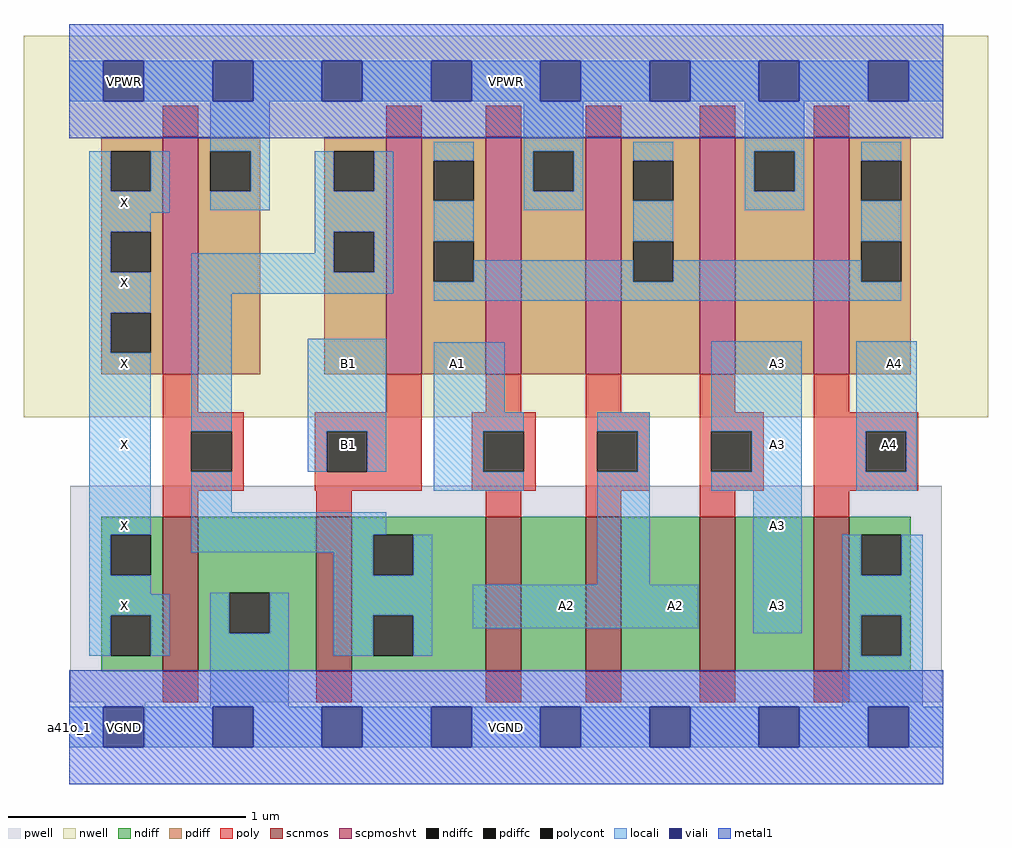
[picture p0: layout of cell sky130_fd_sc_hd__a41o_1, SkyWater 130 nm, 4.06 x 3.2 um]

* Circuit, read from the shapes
.subckt sky130_fd_sc_hd__a41o_1 A1 A2 A3 A4 B1 VGND VNB VPB VPWR X
XM1 VGND n1 X VNB sky130_fd_pr__nfet_01v8 w=0.65 l=0.15
XM2 n1 B1 VGND VNB sky130_fd_pr__nfet_01v8 w=0.65 l=0.15
XM3 n2 A1 n1 VNB sky130_fd_pr__nfet_01v8 w=0.65 l=0.15
XM4 n3 A2 n2 VNB sky130_fd_pr__nfet_01v8 w=0.65 l=0.15
XM5 n4 A3 n3 VNB sky130_fd_pr__nfet_01v8 w=0.65 l=0.15
XM6 VGND A4 n4 VNB sky130_fd_pr__nfet_01v8 w=0.65 l=0.15
XM7 VPWR n1 X VPB sky130_fd_pr__pfet_01v8_hvt w=1 l=0.15
XM8 n5 B1 n1 VPB sky130_fd_pr__pfet_01v8_hvt w=1 l=0.15
XM9 VPWR A1 n5 VPB sky130_fd_pr__pfet_01v8_hvt w=1 l=0.15
XM10 n5 A2 VPWR VPB sky130_fd_pr__pfet_01v8_hvt w=1 l=0.15
XM11 VPWR A3 n5 VPB sky130_fd_pr__pfet_01v8_hvt w=1 l=0.15
XM12 n5 A4 VPWR VPB sky130_fd_pr__pfet_01v8_hvt w=1 l=0.15
.ends

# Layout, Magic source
magic
tech sky130B
magscale 1 2
<< nwell >>
rect -38 261 774 582
<< pwell >>
rect 1 21 735 203
rect 30 -17 64 21
<< scnmos >>
rect 79 47 109 177
rect 208 47 238 177
rect 351 47 381 177
rect 435 47 465 177
rect 531 47 561 177
rect 627 47 657 177
<< scpmoshvt >>
rect 79 297 109 497
rect 267 297 297 497
rect 351 297 381 497
rect 435 297 465 497
rect 531 297 561 497
rect 627 297 657 497
<< ndiff >>
rect 27 162 79 177
rect 27 128 35 162
rect 69 128 79 162
rect 27 94 79 128
rect 27 60 35 94
rect 69 60 79 94
rect 27 47 79 60
rect 109 113 208 177
rect 109 79 135 113
rect 169 79 208 113
rect 109 47 208 79
rect 238 162 351 177
rect 238 128 256 162
rect 290 128 351 162
rect 238 94 351 128
rect 238 60 256 94
rect 290 60 351 94
rect 238 47 351 60
rect 381 47 435 177
rect 465 47 531 177
rect 561 47 627 177
rect 657 162 709 177
rect 657 128 667 162
rect 701 128 709 162
rect 657 94 709 128
rect 657 60 667 94
rect 701 60 709 94
rect 657 47 709 60
<< pdiff >>
rect 27 485 79 497
rect 27 451 35 485
rect 69 451 79 485
rect 27 417 79 451
rect 27 383 35 417
rect 69 383 79 417
rect 27 349 79 383
rect 27 315 35 349
rect 69 315 79 349
rect 27 297 79 315
rect 109 485 161 497
rect 109 451 119 485
rect 153 451 161 485
rect 109 297 161 451
rect 215 485 267 497
rect 215 451 223 485
rect 257 451 267 485
rect 215 417 267 451
rect 215 383 223 417
rect 257 383 267 417
rect 215 297 267 383
rect 297 477 351 497
rect 297 443 307 477
rect 341 443 351 477
rect 297 409 351 443
rect 297 375 307 409
rect 341 375 351 409
rect 297 297 351 375
rect 381 485 435 497
rect 381 451 391 485
rect 425 451 435 485
rect 381 297 435 451
rect 465 477 531 497
rect 465 443 475 477
rect 509 443 531 477
rect 465 409 531 443
rect 465 375 475 409
rect 509 375 531 409
rect 465 297 531 375
rect 561 485 627 497
rect 561 451 577 485
rect 611 451 627 485
rect 561 297 627 451
rect 657 477 709 497
rect 657 443 667 477
rect 701 443 709 477
rect 657 409 709 443
rect 657 375 667 409
rect 701 375 709 409
rect 657 297 709 375
<< ndiffc >>
rect 35 128 69 162
rect 35 60 69 94
rect 135 79 169 113
rect 256 128 290 162
rect 256 60 290 94
rect 667 128 701 162
rect 667 60 701 94
<< pdiffc >>
rect 35 451 69 485
rect 35 383 69 417
rect 35 315 69 349
rect 119 451 153 485
rect 223 451 257 485
rect 223 383 257 417
rect 307 443 341 477
rect 307 375 341 409
rect 391 451 425 485
rect 475 443 509 477
rect 475 375 509 409
rect 577 451 611 485
rect 667 443 701 477
rect 667 375 701 409
<< poly >>
rect 79 497 109 523
rect 267 497 297 523
rect 351 497 381 523
rect 435 497 465 523
rect 531 497 561 523
rect 627 497 657 523
rect 79 265 109 297
rect 267 265 297 297
rect 351 265 381 297
rect 435 265 465 297
rect 531 265 561 297
rect 627 265 657 297
rect 79 249 147 265
rect 79 215 103 249
rect 137 215 147 249
rect 79 199 147 215
rect 207 249 297 265
rect 207 215 217 249
rect 251 215 297 249
rect 207 199 297 215
rect 339 249 393 265
rect 339 215 349 249
rect 383 215 393 249
rect 339 199 393 215
rect 435 249 489 265
rect 435 215 445 249
rect 479 215 489 249
rect 435 199 489 215
rect 531 249 585 265
rect 531 215 541 249
rect 575 215 585 249
rect 531 199 585 215
rect 627 249 715 265
rect 627 215 671 249
rect 705 215 715 249
rect 627 199 715 215
rect 79 177 109 199
rect 208 177 238 199
rect 351 177 381 199
rect 435 177 465 199
rect 531 177 561 199
rect 627 177 657 199
rect 79 21 109 47
rect 208 21 238 47
rect 351 21 381 47
rect 435 21 465 47
rect 531 21 561 47
rect 627 21 657 47
<< polycont >>
rect 103 215 137 249
rect 217 215 251 249
rect 349 215 383 249
rect 445 215 479 249
rect 541 215 575 249
rect 671 215 705 249
<< locali >>
rect 0 527 29 561
rect 63 527 121 561
rect 155 527 213 561
rect 247 527 305 561
rect 339 527 397 561
rect 431 527 489 561
rect 523 527 581 561
rect 615 527 673 561
rect 707 527 736 561
rect 119 485 169 527
rect 17 451 35 485
rect 69 451 85 485
rect 17 433 85 451
rect 153 451 169 485
rect 119 435 169 451
rect 207 451 223 485
rect 257 451 273 485
rect 17 417 69 433
rect 17 383 35 417
rect 207 417 273 451
rect 207 399 223 417
rect 17 349 69 383
rect 17 315 35 349
rect 17 162 69 315
rect 17 128 35 162
rect 103 383 223 399
rect 257 383 273 417
rect 103 365 273 383
rect 307 477 341 493
rect 307 409 341 443
rect 383 485 433 527
rect 383 451 391 485
rect 425 451 433 485
rect 383 435 433 451
rect 475 477 509 493
rect 475 409 509 443
rect 569 485 619 527
rect 569 451 577 485
rect 611 451 619 485
rect 569 435 619 451
rect 667 477 701 493
rect 341 375 475 393
rect 667 409 701 443
rect 509 375 667 393
rect 103 249 137 365
rect 307 359 701 375
rect 201 249 267 327
rect 201 215 217 249
rect 251 215 267 249
rect 307 265 367 324
rect 307 249 383 265
rect 307 215 349 249
rect 103 181 137 215
rect 307 199 383 215
rect 445 249 489 265
rect 479 215 489 249
rect 103 162 267 181
rect 103 147 256 162
rect 17 112 69 128
rect 223 128 256 147
rect 290 128 306 162
rect 17 94 85 112
rect 17 60 35 94
rect 69 60 85 94
rect 119 79 135 113
rect 169 79 185 113
rect 119 17 185 79
rect 223 94 306 128
rect 445 120 489 215
rect 541 249 617 325
rect 575 215 617 249
rect 541 199 617 215
rect 663 249 714 325
rect 663 215 671 249
rect 705 215 714 249
rect 663 199 714 215
rect 223 60 256 94
rect 290 60 306 94
rect 340 83 530 120
rect 576 79 617 199
rect 651 128 667 162
rect 701 128 719 162
rect 651 94 719 128
rect 651 60 667 94
rect 701 60 719 94
rect 651 17 719 60
rect 0 -17 29 17
rect 63 -17 121 17
rect 155 -17 213 17
rect 247 -17 305 17
rect 339 -17 397 17
rect 431 -17 489 17
rect 523 -17 581 17
rect 615 -17 673 17
rect 707 -17 736 17
<< viali >>
rect 29 527 63 561
rect 121 527 155 561
rect 213 527 247 561
rect 305 527 339 561
rect 397 527 431 561
rect 489 527 523 561
rect 581 527 615 561
rect 673 527 707 561
rect 29 -17 63 17
rect 121 -17 155 17
rect 213 -17 247 17
rect 305 -17 339 17
rect 397 -17 431 17
rect 489 -17 523 17
rect 581 -17 615 17
rect 673 -17 707 17
<< metal1 >>
rect 0 561 736 592
rect 0 527 29 561
rect 63 527 121 561
rect 155 527 213 561
rect 247 527 305 561
rect 339 527 397 561
rect 431 527 489 561
rect 523 527 581 561
rect 615 527 673 561
rect 707 527 736 561
rect 0 496 736 527
rect 0 17 736 48
rect 0 -17 29 17
rect 63 -17 121 17
rect 155 -17 213 17
rect 247 -17 305 17
rect 339 -17 397 17
rect 431 -17 489 17
rect 523 -17 581 17
rect 615 -17 673 17
rect 707 -17 736 17
rect 0 -48 736 -17
<< labels >>
flabel metal1 s 30 -17 64 17 0 FreeSans 200 0 0 0 VGND
port 6 nsew ground bidirectional abutment
flabel metal1 s 30 527 64 561 0 FreeSans 200 0 0 0 VPWR
port 9 nsew power bidirectional abutment
flabel locali s 580 289 614 323 0 FreeSans 200 0 0 0 A3
port 3 nsew signal input
flabel locali s 674 221 708 255 0 FreeSans 200 0 0 0 A4
port 4 nsew signal input
flabel locali s 678 289 712 323 0 FreeSans 200 0 0 0 A4
port 4 nsew signal input
flabel locali s 580 153 614 187 0 FreeSans 200 0 0 0 A3
port 3 nsew signal input
flabel locali s 580 221 614 255 0 FreeSans 200 0 0 0 A3
port 3 nsew signal input
flabel locali s 494 85 528 119 0 FreeSans 200 0 0 0 A2
port 2 nsew signal input
flabel locali s 30 425 64 459 0 FreeSans 200 0 0 0 X
port 10 nsew signal output
flabel locali s 402 85 436 119 0 FreeSans 200 0 0 0 A2
port 2 nsew signal input
flabel locali s 218 221 252 255 0 FreeSans 200 0 0 0 B1
port 5 nsew signal input
flabel locali s 310 289 344 323 0 FreeSans 200 0 0 0 A1
port 1 nsew signal input
flabel locali s 218 289 252 323 0 FreeSans 200 0 0 0 B1
port 5 nsew signal input
flabel locali s 30 85 64 119 0 FreeSans 200 0 0 0 X
port 10 nsew signal output
flabel locali s 30 153 64 187 0 FreeSans 200 0 0 0 X
port 10 nsew signal output
flabel locali s 30 221 64 255 0 FreeSans 200 0 0 0 X
port 10 nsew signal output
flabel locali s 30 289 64 323 0 FreeSans 200 0 0 0 X
port 10 nsew signal output
flabel locali s 30 357 64 391 0 FreeSans 200 0 0 0 X
port 10 nsew signal output
flabel locali s 580 85 614 119 0 FreeSans 200 0 0 0 A3
port 3 nsew signal input
flabel nwell s 30 527 64 561 0 FreeSans 200 0 0 0 VPB
port 8 nsew power bidirectional
flabel pwell s 30 -17 64 17 0 FreeSans 200 0 0 0 VNB
port 7 nsew ground bidirectional
rlabel comment s 0 0 0 0 4 a41o_1
rlabel metal1 s 0 -48 736 48 1 VGND
port 6 nsew ground bidirectional abutment
rlabel metal1 s 0 496 736 592 1 VPWR
port 9 nsew power bidirectional abutment
<< properties >>
string FIXED_BBOX 0 0 736 544
string GDS_END 3509124
string GDS_FILE $PDKPATH/libs.ref/sky130_fd_sc_hd/gds/sky130_fd_sc_hd.gds
string GDS_START 3501242
string LEFclass CORE
string LEFsite unithd
string LEFsymmetry X Y R90
string path 0.000 0.000 18.400 0.000 
<< end >>
